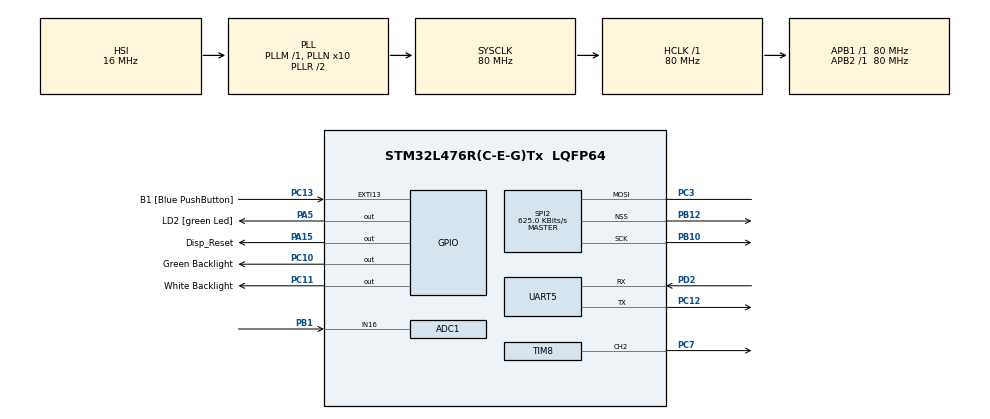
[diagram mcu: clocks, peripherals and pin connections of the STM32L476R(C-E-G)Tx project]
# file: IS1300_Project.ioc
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ADC1.Channel-0\#ChannelRegularConversion=ADC_CHANNEL_16
ADC1.NbrOfConversionFlag=1
ADC1.OffsetNumber-0\#ChannelRegularConversion=ADC_OFFSET_NONE
ADC1.Rank-0\#ChannelRegularConversion=1
ADC1.SamplingTime-0\#ChannelRegularConversion=ADC_SAMPLETIME_2CYCLES_5
ADC1.master=1
FREERTOS.Mutexes01=uartTxMutex,Dynamic,NULL;dispL1mutex,Dynamic,NULL;uartRxMutex,Dynamic,NULL
FREERTOS.Tasks01=defaultTask,8,128,StartDefaultTask,Default,NULL,Dynamic,NULL,NULL;digitalClock,24,128,digitalClockEntry,Default,NULL,Dynamic,NULL,NULL;backlight,24,128,backlightEntry,Default,NULL,Dynamic,NULL,NULL;display,24,128,displayEntry,Default,NULL,Dynamic,NULL,NULL;uart,32,128,uartEntry,Default,NULL,Dynamic,NULL,NULL
FREERTOS.configTOTAL_HEAP_SIZE=4000
Mcu.Family=STM32L4
Mcu.Name=STM32L476R(C-E-G)Tx
Mcu.Package=LQFP64
NVIC.PriorityGroup=NVIC_PRIORITYGROUP_4
NVIC.TIM1_UP_TIM16_IRQn=true\:15\:0\:false\:false\:true\:false\:false\:true
NVIC.TimeBase=TIM1_UP_TIM16_IRQn
NVIC.TimeBaseIP=TIM1
PA13\ (JTMS-SWDIO).GPIO_Label=TMS
PA13\ (JTMS-SWDIO).Mode=Serial_Wire
PA13\ (JTMS-SWDIO).Signal=SYS_JTMS-SWDIO
PA14\ (JTCK-SWCLK).GPIO_Label=TCK
PA14\ (JTCK-SWCLK).Mode=Serial_Wire
PA14\ (JTCK-SWCLK).Signal=SYS_JTCK-SWCLK
PA15\ (JTDI).GPIO_Label=Disp_Reset
PA15\ (JTDI).PinState=GPIO_PIN_SET
PA15\ (JTDI).Signal=GPIO_Output
PA2.GPIO_Label=USART_TX
PA2.GPIO_Mode=GPIO_MODE_AF_PP
PA2.GPIO_PuPd=GPIO_NOPULL
PA2.GPIO_Speed=GPIO_SPEED_FREQ_VERY_HIGH
PA2.Signal=USART2_TX
PA3.GPIO_Label=USART_RX
PA3.GPIO_Mode=GPIO_MODE_AF_PP
PA3.GPIO_PuPd=GPIO_NOPULL
PA3.GPIO_Speed=GPIO_SPEED_FREQ_VERY_HIGH
PA3.Signal=USART2_RX
PA5.GPIO_Label=LD2 [green Led]
PA5.GPIO_ModeDefaultOutputPP=GPIO_MODE_OUTPUT_PP
PA5.GPIO_PuPd=GPIO_NOPULL
PA5.GPIO_Speed=GPIO_SPEED_FREQ_LOW
PA5.Signal=GPIO_Output
PB1.Signal=ADCx_IN16
PB10.Mode=Simplex_Bidirectional_Master
PB10.Signal=SPI2_SCK
PB12.Mode=NSS_Signal_Hard_Output
PB12.Signal=SPI2_NSS
PB3\ (JTDO-TRACESWO).GPIO_Label=SWO
PB3\ (JTDO-TRACESWO).Signal=SYS_JTDO-SWO
PC10.GPIO_Label=Green Backlight
PC10.Signal=GPIO_Output
PC11.GPIO_Label=White Backlight
PC11.Signal=GPIO_Output
PC12.Mode=Asynchronous
PC12.Signal=UART5_TX
PC13.GPIO_Label=B1 [Blue PushButton]
PC13.GPIO_ModeDefaultEXTI=GPIO_MODE_IT_FALLING
PC13.GPIO_PuPd=GPIO_NOPULL
PC13.Signal=GPXTI13
PC14-OSC32_IN\ (PC14).Mode=LSE-External-Oscillator
PC14-OSC32_IN\ (PC14).Signal=RCC_OSC32_IN
PC15-OSC32_OUT\ (PC15).Mode=LSE-External-Oscillator
PC15-OSC32_OUT\ (PC15).Signal=RCC_OSC32_OUT
PC3.Mode=Simplex_Bidirectional_Master
PC3.Signal=SPI2_MOSI
PC7.Signal=S_TIM8_CH2
PD2.Mode=Asynchronous
PD2.Signal=UART5_RX
PH0-OSC_IN\ (PH0).Signal=RCC_OSC_IN
PH1-OSC_OUT\ (PH1).Signal=RCC_OSC_OUT
ProjectManager.HeapSize=0x200
ProjectManager.StackSize=0x400
ProjectManager.TargetToolchain=STM32CubeIDE
RCC.ADCFreq_Value=64000000
RCC.AHBFreq_Value=80000000
RCC.APB1Freq_Value=80000000
RCC.APB1TimFreq_Value=80000000
RCC.APB2Freq_Value=80000000
RCC.APB2TimFreq_Value=80000000
RCC.CortexFreq_Value=80000000
RCC.HCLKFreq_Value=80000000
RCC.HSE_VALUE=8000000
RCC.HSI_VALUE=16000000
RCC.MSI_VALUE=4000000
RCC.PLLN=10
RCC.PLLSourceVirtual=RCC_PLLSOURCE_HSI
RCC.PREFETCH_ENABLE=1
RCC.SYSCLKFreq_VALUE=80000000
RCC.SYSCLKSource=RCC_SYSCLKSOURCE_PLLCLK
RCC.USBFreq_Value=64000000
RCC.VCOOutputFreq_Value=160000000
RTC.Date=22
RTC.Format=RTC_FORMAT_BCD
RTC.Month=RTC_MONTH_DECEMBER
RTC.WeekDay=RTC_WEEKDAY_WEDNESDAY
RTC.Year=21
SH.ADCx_IN16.0=ADC1_IN16,IN16-Single-Ended
SH.S_TIM8_CH2.0=TIM8_CH2,PWM Generation2 CH2
SPI2.BaudRatePrescaler=SPI_BAUDRATEPRESCALER_128
SPI2.CLKPhase=SPI_PHASE_2EDGE
SPI2.CLKPolarity=SPI_POLARITY_HIGH
SPI2.CalculateBaudRate=625.0 KBits/s
SPI2.DataSize=SPI_DATASIZE_8BIT
SPI2.Direction=SPI_DIRECTION_1LINE
SPI2.FirstBit=SPI_FIRSTBIT_LSB
SPI2.Mode=SPI_MODE_MASTER
SPI2.VirtualNSS=VM_NSSHARD
SPI2.VirtualType=VM_MASTER
TIM8.Channel-PWM\ Generation2\ CH2=TIM_CHANNEL_2
TIM8.Period=100
TIM8.Prescaler=4000
TIM8.Pulse-PWM\ Generation2\ CH2=50
VP_FREERTOS_VS_CMSIS_V2.Mode=CMSIS_V2
VP_RTC_VS_RTC_Activate.Mode=RTC_Enabled
VP_RTC_VS_RTC_Calendar.Mode=RTC_Calendar
VP_SYS_VS_tim1.Mode=TIM1
VP_TIM8_VS_ClockSourceINT.Mode=Internal
board=NUCLEO-L476RG

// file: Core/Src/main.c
/* USER CODE BEGIN Header */
/**
  ******************************************************************************
  * @file           main.c
  * @brief          Main program body
  ******************************************************************************
  * @author	    Ludvig Larsson
  ******************************************************************************
  * @attention
  *
  * <h2><center>&copy; Copyright (c) 2021 STMicroelectronics.
  * All rights reserved.</center></h2>
  *
  * This software component is licensed by ST under BSD 3-Clause license,
  * the "License"; You may not use this file except in compliance with the
  * License. You may obtain a copy of the License at:
  *                        opensource.org/licenses/BSD-3-Clause
  *
  ******************************************************************************
  */
/* USER CODE END Header */
#include "main.h"
#include "cmsis_os.h"
#include "adc.h"
#include "rtc.h"
#include "spi.h"
#include "tim.h"
#include "usart.h"
#include "gpio.h"

/* USER CODE BEGIN Includes */
#include "string.h"
#include "stdlib.h"
#include "test.h"
/* USER CODE END Includes */

void SystemClock_Config(void);
void MX_FREERTOS_Init(void);

int main(void)
{

  /* MCU Configuration--------------------------------------------------------*/

  /* Reset of all peripherals, Initializes the Flash interface and the Systick. */
  HAL_Init();

  /* Configure the system clock */
  SystemClock_Config();

  /* Initialize all configured peripherals */
  MX_GPIO_Init();
  MX_UART5_Init();
  MX_SPI2_Init();
  MX_RTC_Init();
  MX_ADC1_Init();
  MX_TIM8_Init();
  /* USER CODE BEGIN 2 */
//  main_test();
//  while(1);
  /* USER CODE END 2 */

  /* Init scheduler */
  osKernelInitialize();  /* Call init function for freertos objects (in freertos.c) */
  MX_FREERTOS_Init();
  /* Start scheduler */
  osKernelStart();

  /* We should never get here as control is now taken by the scheduler */
  /* Infinite loop */
    while (1) {

    }
}

void SystemClock_Config(void)
{
  RCC_OscInitTypeDef RCC_OscInitStruct = {0};
  RCC_ClkInitTypeDef RCC_ClkInitStruct = {0};

  /** Configure the main internal regulator output voltage
  */
  if (HAL_PWREx_ControlVoltageScaling(PWR_REGULATOR_VOLTAGE_SCALE1) != HAL_OK)
  {
    Error_Handler();
  }
  /** Initializes the RCC Oscillators according to the specified parameters
  * in the RCC_OscInitTypeDef structure.
  */
  RCC_OscInitStruct.OscillatorType = RCC_OSCILLATORTYPE_HSI|RCC_OSCILLATORTYPE_LSI;
  RCC_OscInitStruct.HSIState = RCC_HSI_ON;
  RCC_OscInitStruct.HSICalibrationValue = RCC_HSICALIBRATION_DEFAULT;
  RCC_OscInitStruct.LSIState = RCC_LSI_ON;
  RCC_OscInitStruct.PLL.PLLState = RCC_PLL_ON;
  RCC_OscInitStruct.PLL.PLLSource = RCC_PLLSOURCE_HSI;
  RCC_OscInitStruct.PLL.PLLM = 1;
  RCC_OscInitStruct.PLL.PLLN = 10;
  RCC_OscInitStruct.PLL.PLLP = RCC_PLLP_DIV7;
  RCC_OscInitStruct.PLL.PLLQ = RCC_PLLQ_DIV2;
  RCC_OscInitStruct.PLL.PLLR = RCC_PLLR_DIV2;
  if (HAL_RCC_OscConfig(&RCC_OscInitStruct) != HAL_OK)
  {
    Error_Handler();
  }
  /** Initializes the CPU, AHB and APB buses clocks
  */
  RCC_ClkInitStruct.ClockType = RCC_CLOCKTYPE_HCLK|RCC_CLOCKTYPE_SYSCLK
                              |RCC_CLOCKTYPE_PCLK1|RCC_CLOCKTYPE_PCLK2;
  RCC_ClkInitStruct.SYSCLKSource = RCC_SYSCLKSOURCE_PLLCLK;
  RCC_ClkInitStruct.AHBCLKDivider = RCC_SYSCLK_DIV1;
  RCC_ClkInitStruct.APB1CLKDivider = RCC_HCLK_DIV1;
  RCC_ClkInitStruct.APB2CLKDivider = RCC_HCLK_DIV1;

  if (HAL_RCC_ClockConfig(&RCC_ClkInitStruct, FLASH_LATENCY_4) != HAL_OK)
  {
    Error_Handler();
  }
}

void HAL_TIM_PeriodElapsedCallback(TIM_HandleTypeDef *htim)
{
  if (htim->Instance == TIM1) {
    HAL_IncTick();
  }
}

void Error_Handler(void)
{
  /* USER CODE BEGIN Error_Handler_Debug */
    /* User can add an own implementation to report the HAL error return state */
    __disable_irq();
    while (1) {}
  /* USER CODE END Error_Handler_Debug */
}

/************************ (C) COPYRIGHT STMicroelectronics *****END OF FILE****/

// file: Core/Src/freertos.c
/* USER CODE BEGIN Header */
/**
  ******************************************************************************
  * @file           freertos.c
  * @brief          Thread implementations for the main program.
  ******************************************************************************
  * @author	    Ludvig Larsson
  ******************************************************************************
  * @attention
  *
  * <h2><center>&copy; Copyright (c) 2021 STMicroelectronics.
  * All rights reserved.</center></h2>
  *
  * This software component is licensed by ST under Ultimate Liberty license
  * SLA0044, the "License"; You may not use this file except in compliance with
  * the License. You may obtain a copy of the License at:
  *                             www.st.com/SLA0044
  *
  ******************************************************************************
  */
/* USER CODE END Header */

#include "FreeRTOS.h"
#include "task.h"
#include "main.h"
#include "cmsis_os.h"

/* USER CODE BEGIN Includes */
#include "spi.h"
#include "usart.h"
#include "rtc.h"
#include "tim.h"
#include "adc.h"
#include "unistd.h"
#include "string.h"
/* USER CODE END Includes */

/* USER CODE BEGIN PD */
#define TRUE 1
#define FALSE 0
/* USER CODE END PD */

/* USER CODE BEGIN Variables */

/* middleman between uart and tasks */
typedef struct uart_buf_t {
    uint8_t rec_loaded;
    uint8_t send_loaded;
    uint8_t send_buf[25];
    uint8_t rec_buf[25];
    uint8_t rec_size;
} uart_buf_t;

/* middleman between display and tasks */
typedef struct display_buf_t {
    uint8_t L1_new_data;
    uint8_t L1_buf[10];
    uint8_t L2_new_data;
    uint8_t L2_buf[10];
    uint8_t L3_new_data;
    uint8_t L3_buf[10];
    uint8_t L4_new_data;
    uint8_t L4_buf[10];
} display_buf_t;

/* only uart buffer instance */
uart_buf_t *uart_buf = &(uart_buf_t) {
    .rec_loaded = FALSE,
    .send_loaded = FALSE,
    .send_buf = {0},
    .rec_buf = {0},
    .rec_size = 0
};

/* only display buffer instance */
display_buf_t *disp_buf = &(display_buf_t) {
    .L1_new_data = FALSE,
    .L1_buf = {0},
    .L2_new_data = FALSE,
    .L2_buf = {0},
    .L3_new_data = FALSE,
    .L3_buf = {0},
    .L4_new_data = FALSE,
    .L4_buf = {0}
};

/* USER CODE END Variables */
/* Definitions for defaultTask */
osThreadId_t defaultTaskHandle;
const osThreadAttr_t defaultTask_attributes = {
  .name = "defaultTask",
  .stack_size = 128 * 4,
  .priority = (osPriority_t) osPriorityLow,
};
/* Definitions for digitalClock */
osThreadId_t digitalClockHandle;
const osThreadAttr_t digitalClock_attributes = {
  .name = "digitalClock",
  .stack_size = 128 * 4,
  .priority = (osPriority_t) osPriorityNormal,
};
/* Definitions for backlight */
osThreadId_t backlightHandle;
const osThreadAttr_t backlight_attributes = {
  .name = "backlight",
  .stack_size = 128 * 4,
  .priority = (osPriority_t) osPriorityNormal,
};
/* Definitions for display */
osThreadId_t displayHandle;
const osThreadAttr_t display_attributes = {
  .name = "display",
  .stack_size = 128 * 4,
  .priority = (osPriority_t) osPriorityNormal,
};
/* Definitions for uart */
osThreadId_t uartHandle;
const osThreadAttr_t uart_attributes = {
  .name = "uart",
  .stack_size = 128 * 4,
  .priority = (osPriority_t) osPriorityAboveNormal,
};
/* Definitions for uartTxMutex */
osMutexId_t uartTxMutexHandle;
const osMutexAttr_t uartTxMutex_attributes = {
  .name = "uartTxMutex"
};
/* Definitions for dispL1mutex */
osMutexId_t dispL1mutexHandle;
const osMutexAttr_t dispL1mutex_attributes = {
  .name = "dispL1mutex"
};
/* Definitions for uartRxMutex */
osMutexId_t uartRxMutexHandle;
const osMutexAttr_t uartRxMutex_attributes = {
  .name = "uartRxMutex"
};

void StartDefaultTask(void *argument);
void digitalClockEntry(void *argument);
void backlightEntry(void *argument);
void displayEntry(void *argument);
void uartEntry(void *argument);

void MX_FREERTOS_Init(void); /* (MISRA C 2004 rule 8.1) */

void MX_FREERTOS_Init(void) {
  /* Create the mutex(es) */
  /* creation of uartTxMutex */
  uartTxMutexHandle = osMutexNew(&uartTxMutex_attributes);

  /* creation of dispL1mutex */
  dispL1mutexHandle = osMutexNew(&dispL1mutex_attributes);

  /* creation of uartRxMutex */
  uartRxMutexHandle = osMutexNew(&uartRxMutex_attributes);

  /* Create the thread(s) */
  /* creation of defaultTask */
  defaultTaskHandle = osThreadNew(StartDefaultTask, NULL, &defaultTask_attributes);

  /* creation of digitalClock */
  digitalClockHandle = osThreadNew(digitalClockEntry, NULL, &digitalClock_attributes);

  /* creation of backlight */
  backlightHandle = osThreadNew(backlightEntry, NULL, &backlight_attributes);

  /* creation of display */
  displayHandle = osThreadNew(displayEntry, NULL, &display_attributes);

  /* creation of uart */
  uartHandle = osThreadNew(uartEntry, NULL, &uart_attributes);

}

/* USER CODE BEGIN Header_StartDefaultTask */
/**
  * @brief  Dummy thread (not removable), only executes when
  * all other threads are idle.
  * @param  argument[in]: not used.
  */
/* USER CODE END Header_StartDefaultTask */
void StartDefaultTask(void *argument)
{
    while(1) {
        osDelay(1);
    }
}

/* USER CODE BEGIN Header_digitalClockEntry */
/**
* @brief This thread is responsible for the time keeping for the RTC clock. It
* places data in both the uart and display buffer to handle the task to update
* the display each second with the RTC time.
* @param argument[in]: not used.
*/
/* USER CODE END Header_digitalClockEntry */
void digitalClockEntry(void *argument)
{
  /* USER CODE BEGIN digitalClockEntry */
    TickType_t xPeriod = pdMS_TO_TICKS(1000);
    TickType_t xLastWakeTime;
    uint8_t user_prompt[] = "set time as HH:MM:SS\r\n";
    uint8_t time_rec[] = "\r\nClock started!\r\n";
    uint8_t current_time[8]; //HH:MM:SS

    osMutexWait(uartTxMutexHandle, osWaitForever); //wait for send lock
    taskENTER_CRITICAL();
    memcpy(uart_buf->send_buf, user_prompt, strlen((char*)user_prompt));
    taskEXIT_CRITICAL();
    uart_buf->send_loaded = TRUE;
    osMutexRelease(uartTxMutexHandle); //release send lock

    osMutexWait(uartRxMutexHandle, osWaitForever); //wait for receive lock
    uart_buf->rec_size = 8;

    while(uart_buf->rec_loaded == FALSE) {
	vTaskDelay(pdMS_TO_TICKS(10));
    }
    rtc_set_time(uart_buf->rec_buf);
    vTaskDelay(pdMS_TO_TICKS(1000)); //re-schedule to let clock tick once
    taskENTER_CRITICAL();
    memset(uart_buf->rec_buf, 0, 25); //reset buffer
    taskEXIT_CRITICAL();
    uart_buf->rec_loaded = FALSE;
    uart_buf->rec_size = 0;
    osMutexRelease(uartRxMutexHandle); //release receive lock

    osMutexWait(uartTxMutexHandle, osWaitForever); //wait for send lock
    taskENTER_CRITICAL();
    memcpy(uart_buf->send_buf, time_rec, strlen((char*)time_rec));
    taskEXIT_CRITICAL();
    uart_buf->send_loaded = TRUE;
    osMutexRelease(uartTxMutexHandle); //release send lock

    xLastWakeTime = xTaskGetTickCount();
    while(1) {
	rtc_get_time(current_time);
	osMutexWait(dispL1mutexHandle, osWaitForever); //wait for disp L1 lock
	taskENTER_CRITICAL();
	memcpy(disp_buf->L1_buf, current_time, strlen((char*)current_time));
	taskEXIT_CRITICAL();
	disp_buf->L1_new_data = TRUE;
	osMutexRelease(dispL1mutexHandle); //release disp L1 lock
	vTaskDelayUntil(&xLastWakeTime, xPeriod);
    }
  /* USER CODE END digitalClockEntry */
}

/* USER CODE BEGIN Header_backlightEntry */
/**
* @brief This thread checks continously the potentiometer value and
* adjusts the red display backlight accordingly.
* @param argument[in]: not used.
*/
/* USER CODE END Header_backlightEntry */
void backlightEntry(void *argument)
{
  /* USER CODE BEGIN backlightEntry */
    TickType_t xPeriod = pdMS_TO_TICKS(100);
    TickType_t xLastWakeTime;
    uint16_t voltage;

//    display_set_backlight(WHITE);
//    display_set_backlight(GREEN);
    HAL_TIM_PWM_Start(&htim8, TIM_CHANNEL_2); //red backlight
    HAL_ADCEx_Calibration_Start(&hadc1, ADC_SINGLE_ENDED);

    xLastWakeTime = xTaskGetTickCount();

    while(1) {
	voltage = adc_read_pot();
	tim_set_duty_cycle(voltage);
	vTaskDelayUntil(&xLastWakeTime, xPeriod);
    }
  /* USER CODE END backlightEntry */
}

/* USER CODE BEGIN Header_displayEntry */
/**
* @brief This thread will look for new data in each display buffer
* and update the display if current segments are outdated.
* @param argument[in]: not used.
*/
/* USER CODE END Header_displayEntry */
void displayEntry(void *argument)
{
  /* USER CODE BEGIN displayEntry */
    TickType_t xPeriod = pdMS_TO_TICKS(100);
    TickType_t xLastWakeTime;

    display_init();
    xLastWakeTime = xTaskGetTickCount();
    while(1) {
	if (disp_buf->L1_new_data == TRUE) {
	    display_write_line(disp_buf->L1_buf, strlen((char*)disp_buf->L1_buf), 1);
	    disp_buf->L1_new_data = FALSE;
	}
	if (disp_buf->L2_new_data == TRUE) {
	    display_write_line(disp_buf->L2_buf, strlen((char*)disp_buf->L2_buf), 2);
	    disp_buf->L2_new_data = FALSE;
	}
	if (disp_buf->L3_new_data == TRUE) {
	    display_write_line(disp_buf->L3_buf, strlen((char*)disp_buf->L3_buf), 3);
	    disp_buf->L3_new_data = FALSE;
	}
	if (disp_buf->L4_new_data == TRUE) {
	    display_write_line(disp_buf->L4_buf, strlen((char*)disp_buf->L4_buf), 4);
	    disp_buf->L4_new_data = FALSE;
	}
	vTaskDelayUntil(&xLastWakeTime, xPeriod);
    }
  /* USER CODE END displayEntry */
}

/* USER CODE BEGIN Header_uartEntry */
/**
* @brief This thread will check the uart buffer (transmit and receive) to eventually
* start transmitting or receiving for a reqesting thread.
* @param argument[in]: not used.
*/
/* USER CODE END Header_uartEntry */
void uartEntry(void *argument)
{
  /* USER CODE BEGIN uartEntry */
    TickType_t xLastWakeTime;
    TickType_t xPeriod = pdMS_TO_TICKS(100);

    xLastWakeTime = xTaskGetTickCount();
    while(1) {
	if (uart_buf->send_loaded == TRUE) { //a thread wants to send data
	    taskENTER_CRITICAL();
	    uart_transmit(uart_buf->send_buf, strlen((char*)uart_buf->send_buf));
	    memset(uart_buf->send_buf, 0x0, 25); //reset buffer
	    taskEXIT_CRITICAL();
	    uart_buf->send_loaded = FALSE;
	}

	if (uart_buf->rec_size != 0) { //a thread has requested data
	    taskENTER_CRITICAL();
	    uart_receive(uart_buf->rec_buf, uart_buf->rec_size);
	    taskEXIT_CRITICAL();
	    uart_buf->rec_loaded = TRUE;
	    uart_buf->rec_size = 0;
	}
        vTaskDelayUntil(&xLastWakeTime, xPeriod);
    }
  /* USER CODE END uartEntry */
}

/************************ (C) COPYRIGHT STMicroelectronics *****END OF FILE****/
